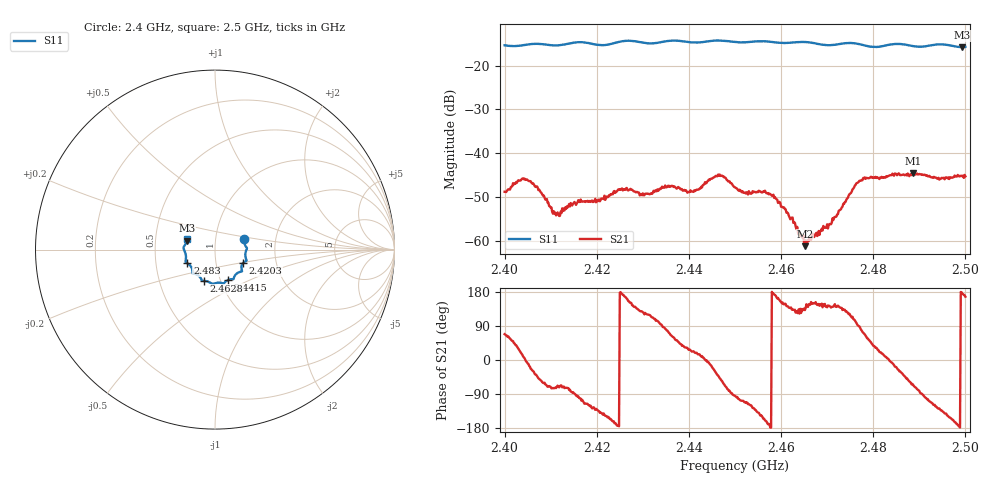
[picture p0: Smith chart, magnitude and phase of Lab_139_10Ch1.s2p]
# Hz S RI R 50
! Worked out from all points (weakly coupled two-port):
!   601 points, 2.4 GHz to 2.5 GHz, reference 50 ohm
!   highest |S21| = -44.58 dB at 2.4887 GHz (marker M1); lowest = -61.3 dB at 2.4652 GHz (marker M2)
!   lowest |S11| = -15.7 dB at 2.4993 GHz (marker M3), VSWR 1.39, Z = 36.4 + j3.68 ohm
!   |S11| at or under -10 dB: start of sweep to end of sweep
!   S12 and S22 are empty: the file has one direction only
!   S11 on the Smith chart (normalised r, x): 2.4 GHz: 1.38, +0.16; 2.4203 GHz: 1.35, -0.21; 2.4415 GHz: 1.09, -0.38; 2.4628 GHz: 0.83, -0.30; 2.483 GHz: 0.73, -0.11; 2.5 GHz: 0.73, +0.09
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2.4e9  0.162 0.0564  0.00134 0.00335  0 0  0 0
2.405167e9  0.1749 0.0128  0.00475 -0.000867  0 0  0 0
2.4115e9  0.1687 -0.026  0.000797 -0.00194  0 0  0 0
2.416667e9  0.1753 -0.0619  -0.000823 -0.00267  0 0  0 0
2.420333e9  0.1562 -0.0748  -0.002 -0.00205  0 0  0 0
2.425e9  0.1498 -0.1145  -0.00387 0.000157  0 0  0 0
2.429833e9  0.1347 -0.1258  -0.00202 0.0026  0 0  0 0
2.433333e9  0.1085 -0.148  -0.000738 0.00363  0 0  0 0
2.4415e9  0.0731 -0.1691  0.00355 0.0012  0 0  0 0
2.446333e9  0.0481 -0.1887  0.00428 -0.00374  0 0  0 0
2.45e9  0.0298 -0.1847  -0.000338 -0.00405  0 0  0 0
2.457833e9  -0.0228 -0.1862  -0.00334 -9.1e-05  0 0  0 0
2.462833e9  -0.0623 -0.1742  -0.00108 0.0012  0 0  0 0
2.465167e9  -0.072 -0.1726  -0.000573 0.000643  0 0  0 0
2.466667e9  -0.0753 -0.1673  -0.000967 0.000583  0 0  0 0
2.470667e9  -0.0982 -0.1411  -0.0012 0.000973  0 0  0 0
2.476667e9  -0.1254 -0.1264  -0.000107 0.0046  0 0  0 0
2.483e9  -0.1542 -0.0763  0.00535 0.00043  0 0  0 0
2.483333e9  -0.1564 -0.075  0.00548 0.000191  0 0  0 0
2.488667e9  -0.1614 -0.0455  0.00244 -0.00537  0 0  0 0
2.499333e9  -0.1556 0.0492  -0.00543 0.000487  0 0  0 0
2.5e9  -0.1537 0.0579  -0.00529 0.00122  0 0  0 0
